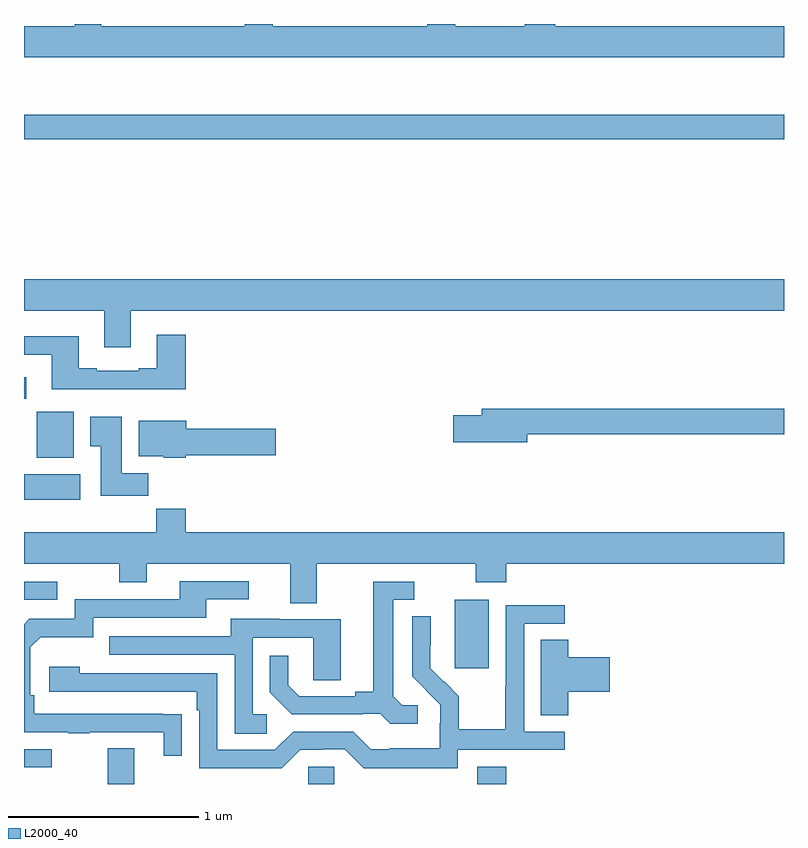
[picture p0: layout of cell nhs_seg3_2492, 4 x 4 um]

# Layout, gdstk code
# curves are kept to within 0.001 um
import gdstk
lib = gdstk.Library(unit=1e-6, precision=1e-09)
def R(c, l, rs):  # rectangles x0, y0, x1, y1
    for r in rs: c.add(gdstk.rectangle(r[:2], r[2:], *l))
def P(c, l, *ps):  # polygons
    for p in ps: c.add(gdstk.Polygon(p, *l))
L2000_40 = (2000, 40)

nhs_seg3_2492 = lib.new_cell('nhs_seg3_2492')
R(nhs_seg3_2492, L2000_40, [(239.441,722.4,239.581,722.587), (240.495,722.4,240.633,722.49), (241.385,722.4,241.538,722.491), (239,722.487,239.146,722.583), (241.268,723.009,241.447,723.37), (239,723.369,239.176,723.465), (239,723.896,239.296,724.03), (239.066,724.118,239.263,724.36), (239,724.427,239.011,724.54), (239,725.794,243,725.923)])
P(nhs_seg3_2492, L2000_40, [(243,726.388),(241.796,726.388),(241.796,726.4),(241.636,726.4),(241.636,726.388),(241.269,726.388),(241.269,726.4),(241.122,726.4),(241.122,726.388),(240.309,726.388),(240.309,726.4),(240.161,726.4),(240.161,726.388),(239.407,726.388),(239.407,726.4),(239.267,726.4),(239.267,726.388),(239,726.388),(239,726.224),(243,726.224)],
  [(239.563,724.892),(243,724.892),(243,725.056),(239,725.056),(239,724.892),(239.423,724.892),(239.423,724.698),(239.563,724.698)],
  [(239.852,724.765),(239.699,724.765),(239.699,724.588),(239.603,724.588),(239.603,724.575),(239.383,724.575),(239.383,724.588),(239.287,724.588),(239.287,724.756),(239,724.756),(239,724.659),(239.147,724.659),(239.147,724.478),(239.852,724.478)],
  [(241.648,724.24),(243,724.24),(243,724.376),(241.409,724.376),(241.409,724.34),(241.26,724.34),(241.26,724.198),(241.648,724.198)],
  [(239.654,724.036),(239.515,724.036),(239.515,724.333),(239.348,724.333),(239.348,724.177),(239.405,724.177),(239.405,723.918),(239.654,723.918)],
  [(239.85,724.129),(240.325,724.129),(240.325,724.271),(239.854,724.271),(239.854,724.312),(239.603,724.312),(239.603,724.124),(239.736,724.124),(239.736,724.118),(239.85,724.118)],
  [(240.541,723.56),(241.378,723.56),(241.378,723.461),(241.538,723.461),(241.538,723.56),(243,723.56),(243,723.724),(239.852,723.724),(239.852,723.848),(239.695,723.848),(239.695,723.724),(239,723.724),(239,723.56),(239.5,723.56),(239.5,723.461),(239.647,723.461),(239.647,723.56),(240.401,723.56),(240.401,723.352),(240.541,723.352)],
  [(239.831,722.768),(239.054,722.769),(239.054,722.866),(239.034,722.866),(239.034,723.12),(239.087,723.173),(239.364,723.173),(239.364,723.276),(239.959,723.276),(239.959,723.372),(240.184,723.372),(240.184,723.468),(239.819,723.468),(239.819,723.372),(239.268,723.372),(239.268,723.27),(239.028,723.27),(239,723.242),(239,722.673),(239.233,722.673),(239.233,722.668),(239.345,722.668),(239.345,722.673),(239.735,722.673),(239.735,722.55),(239.831,722.55)],
  [(241.072,722.814),(240.99,722.814),(240.943,722.861),(240.943,723.369),(241.054,723.369),(241.054,723.465),(240.839,723.465),(240.839,722.885),(240.743,722.885),(240.743,722.862),(240.448,722.862),(240.391,722.919),(240.391,723.076),(240.294,723.076),(240.294,722.882),(240.41,722.766),(240.782,722.766),(240.782,722.769),(240.876,722.769),(240.928,722.717),(241.072,722.717)],
  [(241.284,722.58),(241.846,722.58),(241.846,722.676),(241.632,722.676),(241.632,723.243),(241.846,723.243),(241.846,723.342),(241.536,723.342),(241.536,722.912),(241.534,722.912),(241.534,722.689),(241.289,722.689),(241.289,722.863),(241.212,722.94),(241.209,722.937),(241.139,723.008),(241.14,723.284),(241.044,723.284),(241.044,722.966),(241.19,722.818),(241.19,722.721),(241.188,722.721),(241.188,722.587),(240.925,722.587),(240.925,722.583),(240.825,722.583),(240.732,722.676),(240.417,722.676),(240.321,722.58),(240.018,722.58),(240.018,722.982),(239.294,722.982),(239.294,723.016),(239.133,723.016),(239.133,722.886),(239.909,722.886),(239.909,722.789),(239.922,722.789),(239.922,722.484),(240.357,722.484),(240.453,722.58),(240.572,722.58),(240.572,722.583),(240.687,722.583),(240.787,722.483),(241.284,722.483)],
  [(240.277,722.766),(240.204,722.766),(240.204,723.171),(240.522,723.171),(240.522,722.947),(240.667,722.947),(240.667,723.267),(240.343,723.267),(240.343,723.271),(240.089,723.271),(240.089,723.177),(239.449,723.177),(239.449,723.081),(240.108,723.081),(240.108,722.665),(240.277,722.665)],
  [(241.865,722.885),(242.083,722.885),(242.083,723.068),(241.865,723.068),(241.865,723.158),(241.721,723.158),(241.721,722.761),(241.865,722.761)])

lib.write_gds('nhs_seg3_2492.gds')
